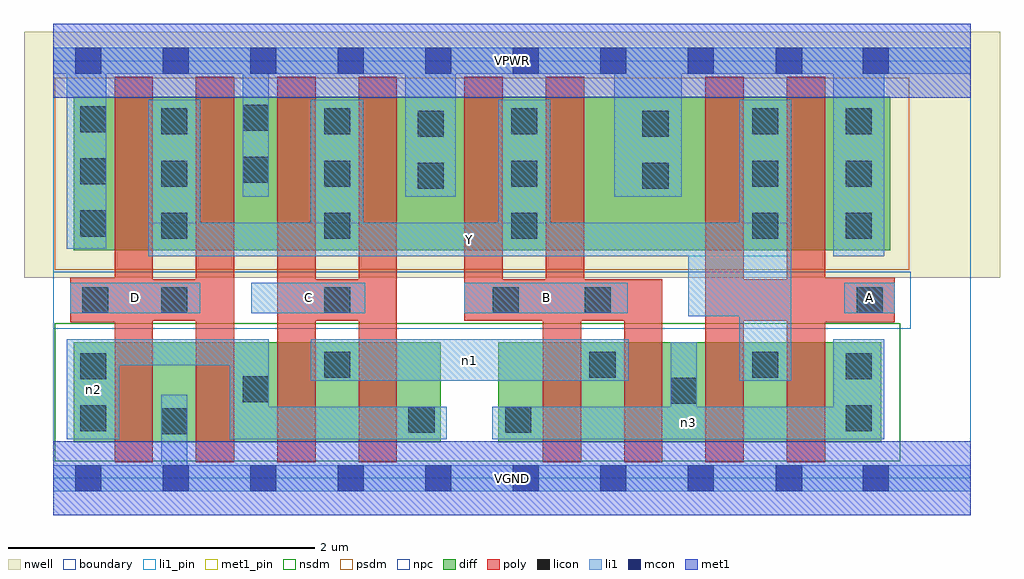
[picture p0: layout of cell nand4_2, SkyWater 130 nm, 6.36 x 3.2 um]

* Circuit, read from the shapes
.subckt nand4_2 A B C D VGND VPWR Y n1 n2 n3
XM1 VGND D n2 VSUBS sky130_fd_pr__nfet_01v8 w=0.65 l=0.25 m=2
XM2 n1 C n2 VSUBS sky130_fd_pr__nfet_01v8 w=0.65 l=0.25 m=2
XM3 n1 B n3 VSUBS sky130_fd_pr__nfet_01v8 w=0.65 l=0.25 m=2
XM4 Y A n3 VSUBS sky130_fd_pr__nfet_01v8 w=0.65 l=0.25 m=2
XM5 Y D VPWR n4 sky130_fd_pr__pfet_01v8 w=1 l=0.25 m=2
XM6 Y C VPWR n4 sky130_fd_pr__pfet_01v8 w=1 l=0.25 m=2
XM7 Y B VPWR n4 sky130_fd_pr__pfet_01v8 w=1 l=0.25 m=2
XM8 Y A VPWR n4 sky130_fd_pr__pfet_01v8 w=1 l=0.25 m=2
.ends

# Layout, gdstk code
import gdstk
lib = gdstk.Library(unit=1e-6, precision=1e-09)
def R(c, l, rs):  # rectangles x0, y0, x1, y1
    for r in rs: c.add(gdstk.rectangle(r[:2], r[2:], *l))
def A(c, l, x, y, w, h, nx, ny, dx, dy):  # array of equal rectangles
    R(c, l, [(x+i*dx, y+j*dy, x+i*dx+w, y+j*dy+h) for i in range(nx) for j in range(ny)])
nwell = (64, 20)
diff = (65, 20)
poly = (66, 20)
licon = (66, 44)
li1_pin = (67, 16)
li1 = (67, 20)
mcon = (67, 44)
met1_pin = (68, 16)
met1 = (68, 20)
nsdm = (93, 44)
psdm = (94, 20)
npc = (95, 20)
boundary = (235, 4)

nand4_2 = lib.new_cell('nand4_2')
R(nand4_2, nwell, [(-0.19,1.305,6.17,2.91), (0,1.305,5.98,2.91)])
R(nand4_2, diff, [(0.135,0.235,2.525,0.885), (2.9,0.235,5.395,0.885), (0.135,1.485,5.455,2.485)])
A(nand4_2, poly, 0.4, 0.105, 0.25, 2.51, 4, 1, 0.53, 0)
R(nand4_2, poly, [(3.19,0.105,3.44,1.295), (3.72,0.105,3.97,1.295), (4.25,0.105,4.5,2.615), (4.78,0.105,5.03,2.615), (0.11,1.015,0.65,1.305), (4.78,1.015,5.485,1.305), (0.11,1.025,1.18,1.295), (1.46,1.025,2.24,1.295), (2.68,1.025,3.97,1.295), (2.68,1.025,2.93,2.615), (3.21,1.025,3.46,2.615), (4.25,1.025,5.485,1.295)])
A(nand4_2, licon, 0.705, 1.56, 0.17, 0.17, 1, 3, 0, 0.34)
A(nand4_2, licon, 1.765, 1.56, 0.17, 0.17, 1, 3, 0, 0.34)
A(nand4_2, licon, 2.985, 1.56, 0.17, 0.17, 1, 3, 0, 0.34)
A(nand4_2, licon, 4.555, 1.56, 0.17, 0.17, 1, 3, 0, 0.34)
A(nand4_2, licon, 5.165, 1.56, 0.17, 0.17, 1, 3, 0, 0.34)
A(nand4_2, licon, 0.175, 1.575, 0.17, 0.17, 1, 3, 0, 0.34)
R(nand4_2, licon, [(0.705,0.285,0.875,0.455), (2.315,0.295,2.485,0.465), (2.945,0.295,3.115,0.465), (0.175,0.305,0.345,0.475), (5.165,0.305,5.335,0.475), (4.025,0.485,4.195,0.655), (1.235,0.495,1.405,0.665), (0.175,0.645,0.345,0.815), (5.165,0.645,5.335,0.815), (1.765,0.655,1.935,0.825), (3.495,0.655,3.665,0.825), (4.555,0.655,4.725,0.825), (0.19,1.075,0.36,1.245), (0.705,1.075,0.875,1.245), (1.765,1.075,1.935,1.245), (2.865,1.075,3.035,1.245), (3.465,1.075,3.635,1.245), (5.235,1.075,5.405,1.245), (2.375,1.885,2.545,2.055), (3.84,1.885,4.01,2.055), (1.235,1.925,1.405,2.095), (2.375,2.225,2.545,2.395), (3.84,2.225,4.01,2.395), (1.235,2.265,1.405,2.435)])
R(nand4_2, li1_pin, [(0.11,1.075,0.96,1.275), (1.29,1.075,2.035,1.275), (2.68,1.075,3.745,1.275), (5.155,1.075,5.485,1.275), (0.62,1.445,4.81,1.665)])
R(nand4_2, li1, [(0,-0.085,5.98,0.085), (0.705,-0.085,0.875,0.545), (0.09,0.255,0.43,0.905), (1.15,0.255,2.565,0.465), (1.15,0.255,1.405,0.905), (2.86,0.255,5.415,0.465), (4.025,0.255,4.195,0.885), (5.085,0.255,5.415,0.905), (1.68,0.635,3.75,0.905), (4.47,0.635,4.81,2.465), (0.09,0.735,1.405,0.905), (4.14,1.055,4.81,1.665), (0.11,1.075,0.96,1.275), (1.29,1.075,2.035,1.275), (2.68,1.075,3.745,1.275), (5.155,1.075,5.485,1.275), (0.62,1.445,4.81,1.665), (0.62,1.445,0.96,2.465), (1.68,1.445,2.02,2.465), (2.9,1.445,3.24,2.465), (5.085,1.445,5.415,2.805), (0.09,1.495,0.345,2.805), (1.235,1.835,1.405,2.805), (2.295,1.835,2.625,2.805), (3.655,1.835,4.095,2.805), (0,2.635,5.98,2.805)])
A(nand4_2, mcon, 0.145, -0.085, 0.17, 0.17, 8, 2, 0.57, 2.72)
R(nand4_2, mcon, [(4.71,-0.085,4.88,0.085), (5.275,-0.085,5.445,0.085), (4.71,2.635,4.88,2.805), (5.275,2.635,5.445,2.805)])
R(nand4_2, met1_pin, [(0,-0.24,5.98,0.24), (0,2.48,5.98,2.96)])
R(nand4_2, met1, [(0,-0.24,5.98,0.24), (0,2.48,5.98,2.96)])
R(nand4_2, nsdm, [(0.01,0.11,5.52,1.01)])
R(nand4_2, psdm, [(0.01,1.36,5.58,2.61)])
R(nand4_2, npc, [(0,0.975,5.59,1.345)])
R(nand4_2, boundary, [(0,0,5.98,2.72)])
nand4_2.add(gdstk.Label('A', (5.32,1.175), layer=67, texttype=5))
nand4_2.add(gdstk.Label('B', (3.212,1.175), layer=67, texttype=5))
nand4_2.add(gdstk.Label('C', (1.662,1.175), layer=67, texttype=5))
nand4_2.add(gdstk.Label('D', (0.535,1.175), layer=67, texttype=5))
nand4_2.add(gdstk.Label('Y', (2.715,1.555), layer=67, texttype=5))
nand4_2.add(gdstk.Label('n2', (0.26,0.58), layer=67, texttype=5))
nand4_2.add(gdstk.Label('n1', (2.715,0.77), layer=67, texttype=5))
nand4_2.add(gdstk.Label('n3', (4.137,0.36), layer=67, texttype=5))
nand4_2.add(gdstk.Label('VPWR', (2.99,2.72), layer=68, texttype=5))
nand4_2.add(gdstk.Label('VGND', (2.99,0), layer=68, texttype=5))
nand4_2.add(gdstk.Label('A', (5.32,1.175), layer=67, texttype=16))
nand4_2.add(gdstk.Label('B', (3.212,1.175), layer=67, texttype=16))
nand4_2.add(gdstk.Label('C', (1.662,1.175), layer=67, texttype=16))
nand4_2.add(gdstk.Label('D', (0.535,1.175), layer=67, texttype=16))
nand4_2.add(gdstk.Label('Y', (2.715,1.555), layer=67, texttype=16))
nand4_2.add(gdstk.Label('VPWR', (2.99,2.72), layer=68, texttype=16))
nand4_2.add(gdstk.Label('VGND', (2.99,0), layer=68, texttype=16))

lib.write_gds('nand4_2.gds')
